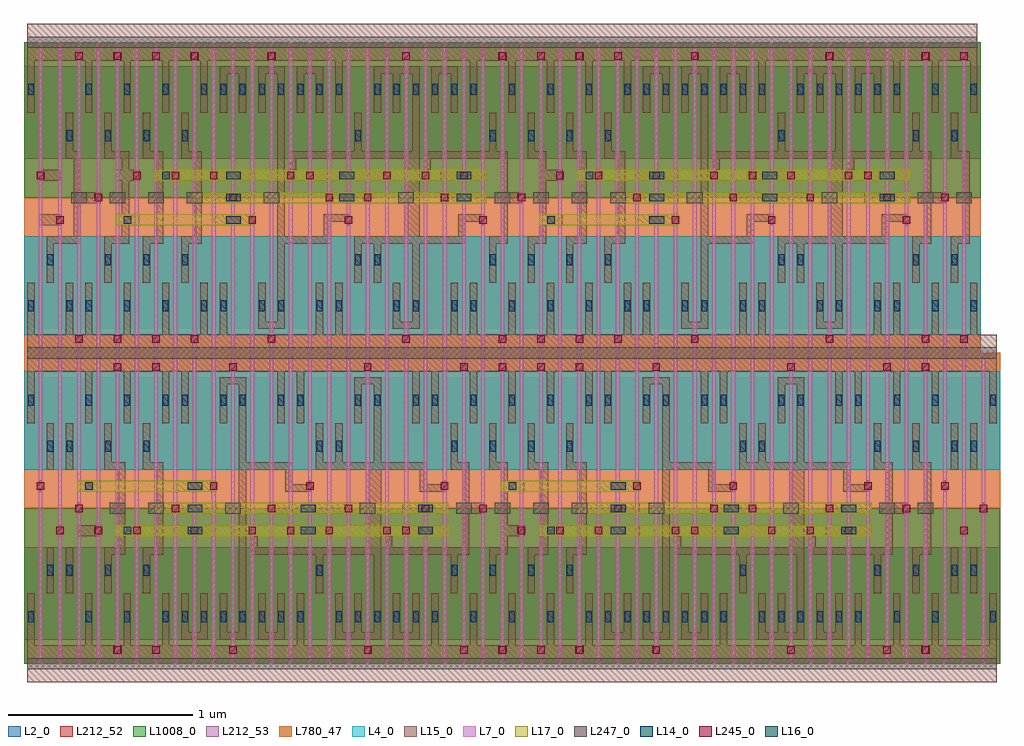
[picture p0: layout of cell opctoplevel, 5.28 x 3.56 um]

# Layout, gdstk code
import gdstk
lib = gdstk.Library(unit=1e-6, precision=1e-09)
def R(c, l, rs):  # rectangles x0, y0, x1, y1
    for r in rs: c.add(gdstk.rectangle(r[:2], r[2:], *l))
def A(c, l, x, y, w, h, nx, ny, dx, dy):  # array of equal rectangles
    R(c, l, [(x+i*dx, y+j*dy, x+i*dx+w, y+j*dy+h) for i in range(nx) for j in range(ny)])
L2_0 = (2, 0)
L4_0 = (4, 0)
L7_0 = (7, 0)
L14_0 = (14, 0)
L15_0 = (15, 0)
L16_0 = (16, 0)
L17_0 = (17, 0)
L212_52 = (212, 52)
L212_53 = (212, 53)
L245_0 = (245, 0)
L247_0 = (247, 0)
L780_47 = (780, 47)
L1008_0 = (1008, 0)

opctoplevel_mux = lib.new_cell('opctoplevel_mux')
A(opctoplevel_mux, L2_0, 0, 0, 0.18, 0.5, 3, 2, 0.104, 0.92)
A(opctoplevel_mux, L4_0, 0, 0.92, 0.18, 0.53, 3, 1, 0.104, 0)
A(opctoplevel_mux, L7_0, 0.08, -0.13, 0.02, 0.84, 3, 2, 0.104, 0.84)
R(opctoplevel_mux, L14_0, [(0.023,0.095,0.053,0.155), (0.335,0.095,0.365,0.155), (0.127,0.345,0.157,0.405), (0.231,0.345,0.261,0.405), (0.127,1.015,0.157,1.075), (0.231,1.015,0.261,1.075), (0.023,1.265,0.053,1.325), (0.335,1.265,0.365,1.325)])
R(opctoplevel_mux, L15_0, [(0.018,-0.23,0.37,-0.03), (0.018,-0.03,0.058,0), (0.33,-0.03,0.37,0), (0.018,0,0.058,0.25), (0.33,0,0.37,0.25), (0.122,0.25,0.162,0.5), (0.226,0.25,0.266,0.5), (0.184,0.56,0.204,0.62), (0.288,0.68,0.308,0.74), (0.08,0.8,0.1,0.86), (0.122,0.92,0.162,1.17), (0.226,0.92,0.266,1.17), (0.018,1.17,0.058,1.42), (0.33,1.17,0.37,1.42), (0.018,1.42,0.058,1.45), (0.33,1.42,0.37,1.45), (0.018,1.45,0.37,1.65)])
A(opctoplevel_mux, L212_52, 0, -0.13, 0.18, 0.84, 3, 1, 0.104, 0)
A(opctoplevel_mux, L212_53, 0, 0.71, 0.18, 0.84, 3, 1, 0.104, 0)
R(opctoplevel_mux, L245_0, [(0.174,0.57,0.214,0.61), (0.278,0.69,0.318,0.73), (0.07,0.81,0.11,0.85)])
R(opctoplevel_mux, L247_0, [(0.018,-0.16,0.37,-0.1), (0.018,1.52,0.37,1.58)])
A(opctoplevel_mux, L780_47, 0, 0.71, 0.18, 0.84, 3, 1, 0.104, 0)
A(opctoplevel_mux, L1008_0, 0, -0.13, 0.18, 0.84, 3, 1, 0.104, 0)

opctoplevel_dffnq = lib.new_cell('opctoplevel_dffnq')
A(opctoplevel_dffnq, L2_0, 0, 0, 0.18, 0.5, 22, 2, 0.104, 0.92)
A(opctoplevel_dffnq, L4_0, 0, 0.92, 0.18, 0.53, 22, 1, 0.104, 0)
A(opctoplevel_dffnq, L7_0, 0.08, -0.13, 0.02, 0.84, 22, 2, 0.104, 0.84)
A(opctoplevel_dffnq, L14_0, 0.023, 0.095, 0.03, 0.06, 3, 2, 0.208, 1.17)
A(opctoplevel_dffnq, L14_0, 0.543, 0.095, 0.03, 0.06, 7, 1, 0.104, 0)
A(opctoplevel_dffnq, L14_0, 1.375, 0.095, 0.03, 0.06, 6, 1, 0.104, 0)
A(opctoplevel_dffnq, L14_0, 1.895, 1.265, 0.03, 0.06, 3, 1, 0.208, 0)
R(opctoplevel_dffnq, L14_0, [(2.103,0.095,2.133,0.155), (2.311,0.095,2.341,0.155), (0.127,0.345,0.157,0.405), (0.335,0.345,0.365,0.405), (1.271,0.345,1.301,0.405), (1.999,0.345,2.029,0.405), (2.207,0.345,2.237,0.405), (0.127,1.015,0.157,1.075), (0.335,1.015,0.365,1.075), (1.271,1.015,1.301,1.075), (1.375,1.015,1.405,1.075), (1.999,1.015,2.029,1.075), (2.207,1.015,2.237,1.075), (0.543,1.265,0.573,1.325), (0.751,1.265,0.781,1.325), (0.855,1.265,0.885,1.325), (1.063,1.265,1.093,1.325), (1.167,1.265,1.197,1.325), (1.479,1.265,1.509,1.325), (1.583,1.265,1.613,1.325), (1.791,1.265,1.821,1.325)])
A(opctoplevel_dffnq, L15_0, 0.018, -0.03, 0.04, 0.03, 3, 2, 0.208, 1.45)
A(opctoplevel_dffnq, L15_0, 1.89, -0.03, 0.04, 0.03, 3, 2, 0.208, 1.45)
A(opctoplevel_dffnq, L15_0, 0.018, 0, 0.04, 0.25, 3, 2, 0.208, 1.17)
A(opctoplevel_dffnq, L15_0, 0.538, 0, 0.04, 0.25, 7, 1, 0.104, 0)
A(opctoplevel_dffnq, L15_0, 0.578, 0, 0.064, 0.04, 3, 1, 0.208, 0)
A(opctoplevel_dffnq, L15_0, 1.37, 0, 0.04, 0.25, 6, 1, 0.104, 0)
A(opctoplevel_dffnq, L15_0, 0.288, 0.56, 0.02, 0.06, 3, 1, 0.312, 0)
A(opctoplevel_dffnq, L15_0, 0.496, 0.56, 0.232, 0.06, 1, 3, 0, 0.12)
A(opctoplevel_dffnq, L15_0, 1.016, 0.68, 0.02, 0.06, 3, 1, 0.416, 0)
A(opctoplevel_dffnq, L15_0, 1.89, 1.17, 0.04, 0.25, 3, 1, 0.208, 0)
R(opctoplevel_dffnq, L15_0, [(0.018,-0.23,2.346,-0.03), (0.184,-0.08,0.204,-0.03), (0.392,-0.08,0.412,-0.03), (0.808,-0.08,0.828,-0.03), (1.536,-0.08,1.556,-0.03), (2.056,-0.08,2.076,-0.03), (2.264,-0.08,2.284,-0.03), (1.162,-0.03,1.202,0), (1.37,0,1.578,0.04), (1.722,0,1.786,0.04), (2.098,0,2.138,0.25), (2.306,0,2.346,0.25), (0.122,0.25,0.162,0.5), (0.33,0.25,0.37,0.5), (0.85,0.25,0.89,1.17), (1.266,0.25,1.306,0.5), (1.578,0.25,1.618,1.17), (1.994,0.25,2.034,0.5), (2.202,0.25,2.242,0.5), (-0.024,0.56,0.104,0.62), (0.08,0.56,0.1,0.62), (0.184,0.56,0.312,0.62), (1.11,0.56,1.338,0.62), (1.12,0.56,1.14,0.62), (1.14,0.56,1.328,0.62), (1.328,0.56,1.348,0.62), (1.64,0.56,1.66,0.62), (1.734,0.56,1.982,0.62), (1.744,0.56,1.764,0.62), (0.392,0.68,0.728,0.74), (0.496,0.68,0.516,0.74), (1.036,0.68,1.432,0.74), (1.11,0.68,1.338,0.74), (1.734,0.68,1.982,0.74), (2.076,0.68,2.16,0.74), (2.16,0.68,2.18,0.74), (-0.024,0.8,0.104,0.86), (0.704,0.8,0.724,0.86), (1.224,0.8,1.244,0.86), (1.952,0.8,1.972,0.86), (0.122,0.92,0.162,1.17), (0.33,0.92,0.37,1.17), (1.266,0.92,1.306,1.17), (1.37,0.92,1.41,1.17), (1.994,0.92,2.034,1.17), (2.202,0.92,2.242,1.17), (0.538,1.17,0.578,1.42), (0.746,1.17,0.786,1.42), (0.85,1.17,0.89,1.42), (1.058,1.17,1.098,1.42), (1.162,1.17,1.202,1.42), (1.474,1.17,1.514,1.42), (1.578,1.17,1.618,1.42), (1.786,1.17,1.826,1.42), (0.786,1.38,0.85,1.42), (1.474,1.38,1.578,1.42), (0.538,1.42,0.578,1.45), (1.058,1.42,1.098,1.45), (1.162,1.42,1.202,1.45), (1.786,1.42,1.826,1.45), (0.018,1.45,2.346,1.65), (0.184,1.45,0.204,1.5), (0.392,1.45,0.412,1.5), (0.808,1.45,0.828,1.5), (1.536,1.45,1.556,1.5), (2.056,1.45,2.076,1.5), (2.264,1.45,2.284,1.5)])
A(opctoplevel_dffnq, L16_0, 0.572, 0.57, 0.08, 0.04, 1, 3, 0, 0.12)
R(opctoplevel_dffnq, L16_0, [(0.228,0.57,0.268,0.61), (1.184,0.57,1.264,0.61), (1.818,0.57,1.898,0.61), (1.184,0.69,1.264,0.73), (1.818,0.69,1.898,0.73), (0.02,0.81,0.06,0.85)])
A(opctoplevel_dffnq, L17_0, 0.496, 0.56, 0.232, 0.06, 1, 3, 0, 0.12)
R(opctoplevel_dffnq, L17_0, [(0.184,0.56,0.312,0.62), (0.184,0.56,1.982,0.62), (1.11,0.56,1.338,0.62), (1.734,0.56,1.982,0.62), (0.392,0.68,1.982,0.74), (1.11,0.68,1.338,0.74), (1.734,0.68,1.982,0.74), (-0.024,0.8,0.104,0.86), (-0.024,0.8,0.728,0.86)])
A(opctoplevel_dffnq, L212_52, 0, -0.13, 0.18, 0.84, 22, 1, 0.104, 0)
A(opctoplevel_dffnq, L212_53, 0, 0.71, 0.18, 0.84, 22, 1, 0.104, 0)
A(opctoplevel_dffnq, L245_0, 0.278, 0.57, 0.04, 0.04, 3, 1, 0.312, 0)
A(opctoplevel_dffnq, L245_0, 1.006, 0.69, 0.04, 0.04, 3, 1, 0.416, 0)
R(opctoplevel_dffnq, L245_0, [(0.174,-0.075,0.214,-0.035), (0.382,-0.075,0.422,-0.035), (0.798,-0.075,0.838,-0.035), (1.526,-0.075,1.566,-0.035), (2.046,-0.075,2.086,-0.035), (2.254,-0.075,2.294,-0.035), (0.07,0.57,0.11,0.61), (1.11,0.57,1.15,0.61), (1.318,0.57,1.358,0.61), (1.63,0.57,1.67,0.61), (1.734,0.57,1.774,0.61), (0.486,0.69,0.526,0.73), (2.15,0.69,2.19,0.73), (0.694,0.81,0.734,0.85), (1.214,0.81,1.254,0.85), (1.942,0.81,1.982,0.85), (0.174,1.455,0.214,1.495), (0.382,1.455,0.422,1.495), (0.798,1.455,0.838,1.495), (1.526,1.455,1.566,1.495), (2.046,1.455,2.086,1.495), (2.254,1.455,2.294,1.495)])
R(opctoplevel_dffnq, L247_0, [(0.018,-0.16,2.346,-0.1), (0.152,0.68,0.236,0.74), (0.36,0.68,0.444,0.74), (0.776,0.68,0.86,0.74), (1.504,0.68,1.588,0.74), (2.024,0.68,2.108,0.74), (2.232,0.68,2.316,0.74), (0.018,1.52,2.346,1.58)])
A(opctoplevel_dffnq, L780_47, 0, 0.71, 0.18, 0.84, 22, 1, 0.104, 0)
A(opctoplevel_dffnq, L1008_0, 0, -0.13, 0.18, 0.84, 22, 1, 0.104, 0)
opctoplevel_dffnq.add(gdstk.FlexPath([(0.162,0.94),(0.214,0.94),(0.214,0.48),(0.162,0.48)], 0.04, ends="flush", simple_path=True, layer=15, datatype=0))  # L15_0
opctoplevel_dffnq.add(gdstk.FlexPath([(0.37,0.94),(0.422,0.94),(0.422,0.48),(0.37,0.48)], 0.04, ends="flush", simple_path=True, layer=15, datatype=0))  # L15_0
opctoplevel_dffnq.add(gdstk.FlexPath([(1.306,0.48),(0.932,0.48),(0.932,0.56)], 0.04, ends="flush", simple_path=True, layer=15, datatype=0))  # L15_0
opctoplevel_dffnq.add(gdstk.FlexPath([(1.224,0.82),(1.12,0.82),(1.12,0.94),(0.87,0.94),(0.87,1.17)], 0.04, ends="flush", simple_path=True, layer=15, datatype=0))  # L15_0
opctoplevel_dffnq.add(gdstk.FlexPath([(1.306,0.94),(1.556,0.94),(1.556,0.48),(1.306,0.48)], 0.04, ends="flush", simple_path=True, layer=15, datatype=0))  # L15_0
opctoplevel_dffnq.add(gdstk.FlexPath([(2.034,0.48),(1.66,0.48),(1.66,0.56)], 0.04, ends="flush", simple_path=True, layer=15, datatype=0))  # L15_0
opctoplevel_dffnq.add(gdstk.FlexPath([(1.952,0.82),(1.848,0.82),(1.848,0.94),(1.598,0.94),(1.598,1.17)], 0.04, ends="flush", simple_path=True, layer=15, datatype=0))  # L15_0
opctoplevel_dffnq.add(gdstk.FlexPath([(2.034,0.94),(2.076,0.94),(2.076,0.48),(2.034,0.48)], 0.04, ends="flush", simple_path=True, layer=15, datatype=0))  # L15_0
opctoplevel_dffnq.add(gdstk.FlexPath([(2.242,0.94),(2.284,0.94),(2.284,0.48),(2.242,0.48)], 0.04, ends="flush", simple_path=True, layer=15, datatype=0))  # L15_0

opctoplevel_dffpq = lib.new_cell('opctoplevel_dffpq')
A(opctoplevel_dffpq, L2_0, 0, 0, 0.18, 0.5, 22, 2, 0.104, 0.92)
A(opctoplevel_dffpq, L4_0, 0, 0.92, 0.18, 0.53, 22, 1, 0.104, 0)
A(opctoplevel_dffpq, L7_0, 0.08, -0.13, 0.02, 0.84, 22, 2, 0.104, 0.84)
A(opctoplevel_dffpq, L14_0, 0.023, 0.095, 0.03, 0.06, 3, 2, 0.208, 1.17)
A(opctoplevel_dffpq, L14_0, 0.543, 0.095, 0.03, 0.06, 7, 1, 0.104, 0)
A(opctoplevel_dffpq, L14_0, 1.375, 0.095, 0.03, 0.06, 6, 1, 0.104, 0)
A(opctoplevel_dffpq, L14_0, 1.895, 1.265, 0.03, 0.06, 3, 1, 0.208, 0)
R(opctoplevel_dffpq, L14_0, [(2.103,0.095,2.133,0.155), (2.311,0.095,2.341,0.155), (0.127,0.345,0.157,0.405), (0.335,0.345,0.365,0.405), (1.271,0.345,1.301,0.405), (1.999,0.345,2.029,0.405), (2.207,0.345,2.237,0.405), (0.127,1.015,0.157,1.075), (0.335,1.015,0.365,1.075), (1.271,1.015,1.301,1.075), (1.375,1.015,1.405,1.075), (1.999,1.015,2.029,1.075), (2.207,1.015,2.237,1.075), (0.543,1.265,0.573,1.325), (0.751,1.265,0.781,1.325), (0.855,1.265,0.885,1.325), (1.063,1.265,1.093,1.325), (1.167,1.265,1.197,1.325), (1.479,1.265,1.509,1.325), (1.583,1.265,1.613,1.325), (1.791,1.265,1.821,1.325)])
A(opctoplevel_dffpq, L15_0, 0.018, -0.03, 0.04, 0.03, 3, 2, 0.208, 1.45)
A(opctoplevel_dffpq, L15_0, 1.89, -0.03, 0.04, 0.03, 3, 2, 0.208, 1.45)
A(opctoplevel_dffpq, L15_0, 0.018, 0, 0.04, 0.25, 3, 2, 0.208, 1.17)
A(opctoplevel_dffpq, L15_0, 0.538, 0, 0.04, 0.25, 7, 1, 0.104, 0)
A(opctoplevel_dffpq, L15_0, 0.578, 0, 0.064, 0.04, 3, 1, 0.208, 0)
A(opctoplevel_dffpq, L15_0, 1.37, 0, 0.04, 0.25, 6, 1, 0.104, 0)
A(opctoplevel_dffpq, L15_0, 0.08, 0.56, 0.02, 0.06, 3, 1, 0.208, 0)
A(opctoplevel_dffpq, L15_0, 0.496, 0.56, 0.232, 0.06, 1, 3, 0, 0.12)
A(opctoplevel_dffpq, L15_0, 1.432, 0.56, 0.02, 0.06, 3, 1, 0.208, 0)
A(opctoplevel_dffpq, L15_0, 1.328, 0.68, 0.02, 0.06, 3, 1, 0.416, 0)
A(opctoplevel_dffpq, L15_0, 1.89, 1.17, 0.04, 0.25, 3, 1, 0.208, 0)
R(opctoplevel_dffpq, L15_0, [(0.018,-0.23,2.346,-0.03), (0.184,-0.08,0.204,-0.03), (0.392,-0.08,0.412,-0.03), (0.808,-0.08,0.828,-0.03), (1.536,-0.08,1.556,-0.03), (2.056,-0.08,2.076,-0.03), (2.264,-0.08,2.284,-0.03), (1.162,-0.03,1.202,0), (1.37,0,1.578,0.04), (1.722,0,1.786,0.04), (2.098,0,2.138,0.25), (2.306,0,2.346,0.25), (0.122,0.25,0.162,0.5), (0.33,0.25,0.37,0.5), (0.85,0.25,0.89,1.17), (1.266,0.25,1.306,0.5), (1.578,0.25,1.618,1.17), (1.994,0.25,2.034,0.5), (2.202,0.25,2.242,0.5), (-0.024,0.56,0.104,0.62), (0.184,0.56,0.312,0.62), (0.912,0.56,0.932,0.62), (1.016,0.56,1.036,0.62), (1.036,0.56,1.432,0.62), (1.11,0.56,1.338,0.62), (1.734,0.56,1.982,0.62), (0.392,0.68,0.728,0.74), (0.6,0.68,0.62,0.74), (1.11,0.68,1.338,0.74), (1.12,0.68,1.14,0.74), (1.14,0.68,1.328,0.74), (1.734,0.68,1.982,0.74), (2.076,0.68,2.16,0.74), (-0.024,0.8,0.104,0.86), (0.704,0.8,0.724,0.86), (1.224,0.8,1.244,0.86), (1.952,0.8,1.972,0.86), (0.122,0.92,0.162,1.17), (0.33,0.92,0.37,1.17), (1.266,0.92,1.306,1.17), (1.37,0.92,1.41,1.17), (1.994,0.92,2.034,1.17), (2.202,0.92,2.242,1.17), (0.538,1.17,0.578,1.42), (0.746,1.17,0.786,1.42), (0.85,1.17,0.89,1.42), (1.058,1.17,1.098,1.42), (1.162,1.17,1.202,1.42), (1.474,1.17,1.514,1.42), (1.578,1.17,1.618,1.42), (1.786,1.17,1.826,1.42), (0.786,1.38,0.85,1.42), (1.474,1.38,1.578,1.42), (0.538,1.42,0.578,1.45), (1.058,1.42,1.098,1.45), (1.162,1.42,1.202,1.45), (1.786,1.42,1.826,1.45), (0.018,1.45,2.346,1.65), (0.184,1.45,0.204,1.5), (0.392,1.45,0.412,1.5), (0.808,1.45,0.828,1.5), (1.536,1.45,1.556,1.5), (2.056,1.45,2.076,1.5), (2.264,1.45,2.284,1.5)])
A(opctoplevel_dffpq, L16_0, 0.572, 0.57, 0.08, 0.04, 1, 3, 0, 0.12)
R(opctoplevel_dffpq, L16_0, [(0.228,0.57,0.268,0.61), (1.184,0.57,1.264,0.61), (1.818,0.57,1.898,0.61), (1.184,0.69,1.264,0.73), (1.818,0.69,1.898,0.73), (0.02,0.81,0.06,0.85)])
A(opctoplevel_dffpq, L17_0, 0.496, 0.56, 0.232, 0.06, 1, 3, 0, 0.12)
R(opctoplevel_dffpq, L17_0, [(0.184,0.56,0.312,0.62), (0.184,0.56,1.982,0.62), (1.11,0.56,1.338,0.62), (1.734,0.56,1.982,0.62), (0.392,0.68,1.982,0.74), (1.11,0.68,1.338,0.74), (1.734,0.68,1.982,0.74), (-0.024,0.8,0.104,0.86), (-0.024,0.8,0.728,0.86)])
A(opctoplevel_dffpq, L212_52, 0, -0.13, 0.18, 0.84, 22, 1, 0.104, 0)
A(opctoplevel_dffpq, L212_53, 0, 0.71, 0.18, 0.84, 22, 1, 0.104, 0)
A(opctoplevel_dffpq, L245_0, 0.07, 0.57, 0.04, 0.04, 3, 1, 0.208, 0)
A(opctoplevel_dffpq, L245_0, 1.422, 0.57, 0.04, 0.04, 3, 1, 0.208, 0)
A(opctoplevel_dffpq, L245_0, 1.318, 0.69, 0.04, 0.04, 3, 1, 0.416, 0)
R(opctoplevel_dffpq, L245_0, [(0.174,-0.075,0.214,-0.035), (0.382,-0.075,0.422,-0.035), (0.798,-0.075,0.838,-0.035), (1.526,-0.075,1.566,-0.035), (2.046,-0.075,2.086,-0.035), (2.254,-0.075,2.294,-0.035), (0.902,0.57,0.942,0.61), (1.006,0.57,1.046,0.61), (0.59,0.69,0.63,0.73), (1.11,0.69,1.15,0.73), (0.694,0.81,0.734,0.85), (1.214,0.81,1.254,0.85), (1.942,0.81,1.982,0.85), (0.174,1.455,0.214,1.495), (0.382,1.455,0.422,1.495), (0.798,1.455,0.838,1.495), (1.526,1.455,1.566,1.495), (2.046,1.455,2.086,1.495), (2.254,1.455,2.294,1.495)])
R(opctoplevel_dffpq, L247_0, [(0.018,-0.16,2.346,-0.1), (0.152,0.68,0.236,0.74), (0.36,0.68,0.444,0.74), (0.776,0.68,0.86,0.74), (1.504,0.68,1.588,0.74), (2.024,0.68,2.108,0.74), (2.232,0.68,2.316,0.74), (0.018,1.52,2.346,1.58)])
A(opctoplevel_dffpq, L780_47, 0, 0.71, 0.18, 0.84, 22, 1, 0.104, 0)
A(opctoplevel_dffpq, L1008_0, 0, -0.13, 0.18, 0.84, 22, 1, 0.104, 0)
opctoplevel_dffpq.add(gdstk.FlexPath([(0.162,0.94),(0.214,0.94),(0.214,0.48),(0.162,0.48)], 0.04, ends="flush", simple_path=True, layer=15, datatype=0))  # L15_0
opctoplevel_dffpq.add(gdstk.FlexPath([(0.37,0.94),(0.422,0.94),(0.422,0.48),(0.37,0.48)], 0.04, ends="flush", simple_path=True, layer=15, datatype=0))  # L15_0
opctoplevel_dffpq.add(gdstk.FlexPath([(1.306,0.48),(0.932,0.48),(0.932,0.56)], 0.04, ends="flush", simple_path=True, layer=15, datatype=0))  # L15_0
opctoplevel_dffpq.add(gdstk.FlexPath([(1.224,0.82),(1.12,0.82),(1.12,0.94),(0.87,0.94),(0.87,1.17)], 0.04, ends="flush", simple_path=True, layer=15, datatype=0))  # L15_0
opctoplevel_dffpq.add(gdstk.FlexPath([(1.306,0.94),(1.556,0.94),(1.556,0.48),(1.306,0.48)], 0.04, ends="flush", simple_path=True, layer=15, datatype=0))  # L15_0
opctoplevel_dffpq.add(gdstk.FlexPath([(2.034,0.48),(1.66,0.48),(1.66,0.56)], 0.04, ends="flush", simple_path=True, layer=15, datatype=0))  # L15_0
opctoplevel_dffpq.add(gdstk.FlexPath([(1.952,0.82),(1.848,0.82),(1.848,0.94),(1.598,0.94),(1.598,1.17)], 0.04, ends="flush", simple_path=True, layer=15, datatype=0))  # L15_0
opctoplevel_dffpq.add(gdstk.FlexPath([(2.034,0.94),(2.076,0.94),(2.076,0.48),(2.034,0.48)], 0.04, ends="flush", simple_path=True, layer=15, datatype=0))  # L15_0
opctoplevel_dffpq.add(gdstk.FlexPath([(2.242,0.94),(2.284,0.94),(2.284,0.48),(2.242,0.48)], 0.04, ends="flush", simple_path=True, layer=15, datatype=0))  # L15_0

opctoplevel_and_gate = lib.new_cell('opctoplevel_and_gate')
A(opctoplevel_and_gate, L2_0, 0, 0, 0.18, 0.5, 5, 2, 0.104, 0.92)
A(opctoplevel_and_gate, L4_0, 0, 0.92, 0.18, 0.53, 5, 1, 0.104, 0)
A(opctoplevel_and_gate, L7_0, 0.08, -0.13, 0.02, 0.84, 5, 2, 0.104, 0.84)
R(opctoplevel_and_gate, L14_0, [(0.023,0.095,0.053,0.155), (0.335,0.095,0.365,0.155), (0.335,0.095,0.365,0.155), (0.543,0.095,0.573,0.155), (0.231,0.345,0.261,0.405), (0.439,0.345,0.469,0.405), (0.127,1.015,0.157,1.075), (0.439,1.015,0.469,1.075), (0.023,1.265,0.053,1.325), (0.231,1.265,0.261,1.325), (0.335,1.265,0.365,1.325), (0.335,1.265,0.365,1.325), (0.543,1.265,0.573,1.325)])
R(opctoplevel_and_gate, L15_0, [(0.018,-0.23,0.37,-0.03), (0.33,-0.23,0.578,-0.03), (0.288,-0.08,0.308,-0.03), (0.496,-0.08,0.516,-0.03), (0.018,-0.03,0.058,0), (0.33,-0.03,0.37,0), (0.33,-0.03,0.37,0), (0.538,-0.03,0.578,0), (0.018,0,0.058,0.25), (0.33,0,0.37,0.25), (0.33,0,0.37,0.25), (0.538,0,0.578,0.25), (0.226,0.25,0.266,0.5), (0.434,0.25,0.474,0.5), (0.08,0.56,0.1,0.62), (0.08,0.56,0.204,0.62), (0.288,0.68,0.416,0.74), (0.392,0.68,0.412,0.74), (0.08,0.8,0.184,0.86), (0.184,0.8,0.204,0.86), (0.122,0.92,0.162,1.17), (0.434,0.92,0.474,1.17), (0.018,1.17,0.058,1.42), (0.226,1.17,0.266,1.42), (0.33,1.17,0.37,1.42), (0.33,1.17,0.37,1.42), (0.538,1.17,0.578,1.42), (0.018,1.42,0.058,1.45), (0.226,1.42,0.266,1.45), (0.33,1.42,0.37,1.45), (0.33,1.42,0.37,1.45), (0.538,1.42,0.578,1.45), (0.018,1.45,0.37,1.65), (0.288,1.45,0.308,1.5), (0.33,1.45,0.578,1.65), (0.496,1.45,0.516,1.5)])
A(opctoplevel_and_gate, L212_52, 0, -0.13, 0.18, 0.84, 5, 1, 0.104, 0)
A(opctoplevel_and_gate, L212_53, 0, 0.71, 0.18, 0.84, 5, 1, 0.104, 0)
R(opctoplevel_and_gate, L245_0, [(0.278,-0.075,0.318,-0.035), (0.486,-0.075,0.526,-0.035), (0.07,0.57,0.11,0.61), (0.382,0.69,0.422,0.73), (0.174,0.81,0.214,0.85), (0.278,1.455,0.318,1.495), (0.486,1.455,0.526,1.495)])
R(opctoplevel_and_gate, L247_0, [(0.018,-0.16,0.37,-0.1), (0.33,-0.16,0.578,-0.1), (0.256,0.68,0.34,0.74), (0.464,0.68,0.548,0.74), (0.018,1.52,0.37,1.58), (0.33,1.52,0.578,1.58)])
A(opctoplevel_and_gate, L780_47, 0, 0.71, 0.18, 0.84, 5, 1, 0.104, 0)
A(opctoplevel_and_gate, L1008_0, 0, -0.13, 0.18, 0.84, 5, 1, 0.104, 0)
opctoplevel_and_gate.add(gdstk.FlexPath([(0.266,0.48),(0.288,0.48),(0.288,0.94),(0.162,0.94)], 0.04, ends="flush", simple_path=True, layer=15, datatype=0))  # L15_0
opctoplevel_and_gate.add(gdstk.FlexPath([(0.474,0.94),(0.548,0.94),(0.548,0.48),(0.474,0.48)], 0.04, ends="flush", simple_path=True, layer=15, datatype=0))  # L15_0

opctoplevel = lib.new_cell('opctoplevel')
opctoplevel.add(gdstk.Reference(opctoplevel_mux, (0,0)))
opctoplevel.add(gdstk.Reference(opctoplevel_dffnq, (0.312,0)))
opctoplevel.add(gdstk.Reference(opctoplevel_dffpq, (2.6,0)))
opctoplevel.add(gdstk.Reference(opctoplevel_mux, (4.888,0)))
opctoplevel.add(gdstk.Reference(opctoplevel_and_gate, (0,3.1), x_reflection=True))
opctoplevel.add(gdstk.Reference(opctoplevel_dffpq, (0.52,3.1), x_reflection=True))
opctoplevel.add(gdstk.Reference(opctoplevel_dffnq, (2.808,3.1), x_reflection=True))

lib.write_gds('opctoplevel.gds')
